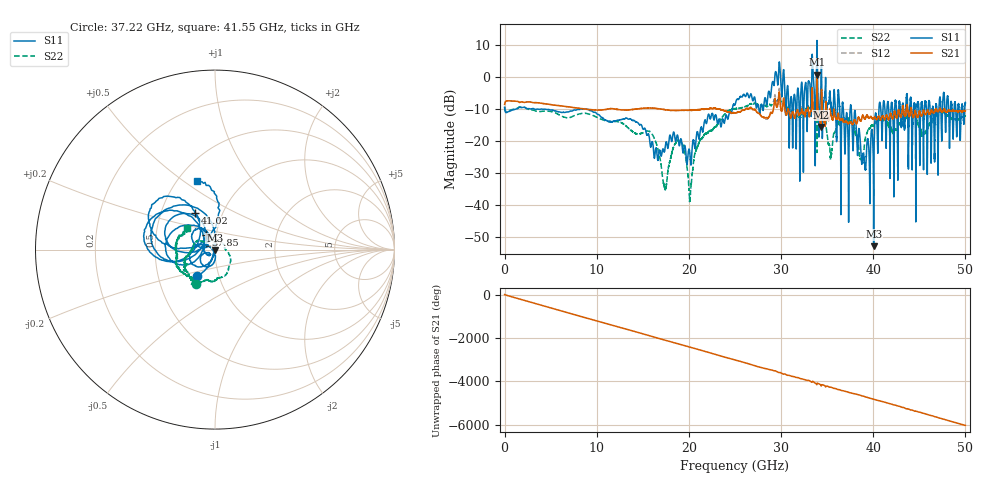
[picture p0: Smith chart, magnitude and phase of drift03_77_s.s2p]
!Created with skrf (http://scikit-rf.org).
# Hz S RI R 50.0
!freq ReS11 ImS11 ReS21 ImS21 ReS12 ImS12 ReS22 ImS22
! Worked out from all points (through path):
!   10001 points, 300 kHz to 50 GHz, reference 50 ohm
!   highest |S21| = 0.82 dB at 33.9 GHz (marker M1); lowest = -15.5 dB at 34.32 GHz (marker M2)
!   group delay of S21, straight-line fit = 335 ps
!   lowest |S11| = -52.8 dB at 40.05 GHz (marker M3), VSWR 1.00, Z = 49.9 - j0.19 ohm
!   |S11| at or under -10 dB: 4.475 GHz to 7.955 GHz (3.48 GHz wide, 56 % of centre); 9.016 GHz to 24.7 GHz (15.68 GHz wide, 93 % of centre); 37.62 GHz to 40.62 GHz (2.995 GHz wide, 7.66 % of centre) (the widest 3 of 55)
!   |S22| runs from -38.9 to -5.8 dB; largest |S21 - S12| = 0.11
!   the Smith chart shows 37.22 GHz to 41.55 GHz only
!   S11 on the Smith chart (normalised r, x): 37.22 GHz: 0.78, -0.24; 37.85 GHz: 0.89, +0.15; 41.02 GHz: 0.74, +0.32; 41.55 GHz: 0.62, +0.56
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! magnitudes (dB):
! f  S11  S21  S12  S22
! 300 kHz  -9.3  -8.5  -8.4  -9.3
! 8.335 GHz  -9.8  -9.8  -9.7  -11.3
! 16.67 GHz  -25.4  -9.8  -9.8  -23.0
! 17.4 GHz  -22.3  -10.1  -10.1  -34.8
! 19.1 GHz  -19.5  -10.3  -10.3  -20.1
! 20.13 GHz  -24.7  -10.3  -10.3  -37.8
! 21.19 GHz  -17.9  -10.1  -10.1  -19.8
! 25 GHz  -8.6  -11.1  -11.1  -9.8
! 29.66 GHz  -2.2  -8.3  -8.4  -7.1
! 31.08 GHz  -6.1  -12.7  -12.6  -10.5
! 33.34 GHz  0.5  -7.5  -7.5  -9.3
! 33.9 GHz  11.5  0.8  0.4  -23.5
! 34.32 GHz  -2.9  -15.5  -14.9  -11.2
! 35.35 GHz  -6.8  -10.8  -10.3  -25.4
! 37.22 GHz  -15.0  -14.2  -14.3  -13.2
! 37.85 GHz  -20.3  -14.3  -14.3  -14.8
! 38.72 GHz  -25.8  -13.3  -13.2  -25.4
! 40.05 GHz  -52.8  -12.7  -12.7  -15.2
! 41.02 GHz  -12.7  -12.1  -12.0  -13.1
! 41.55 GHz  -8.0  -12.5  -12.3  -14.1
! 41.67 GHz  -9.4  -13.3  -13.2  -15.0
! 50 GHz  -8.0  -10.5  -10.6  -12.1
